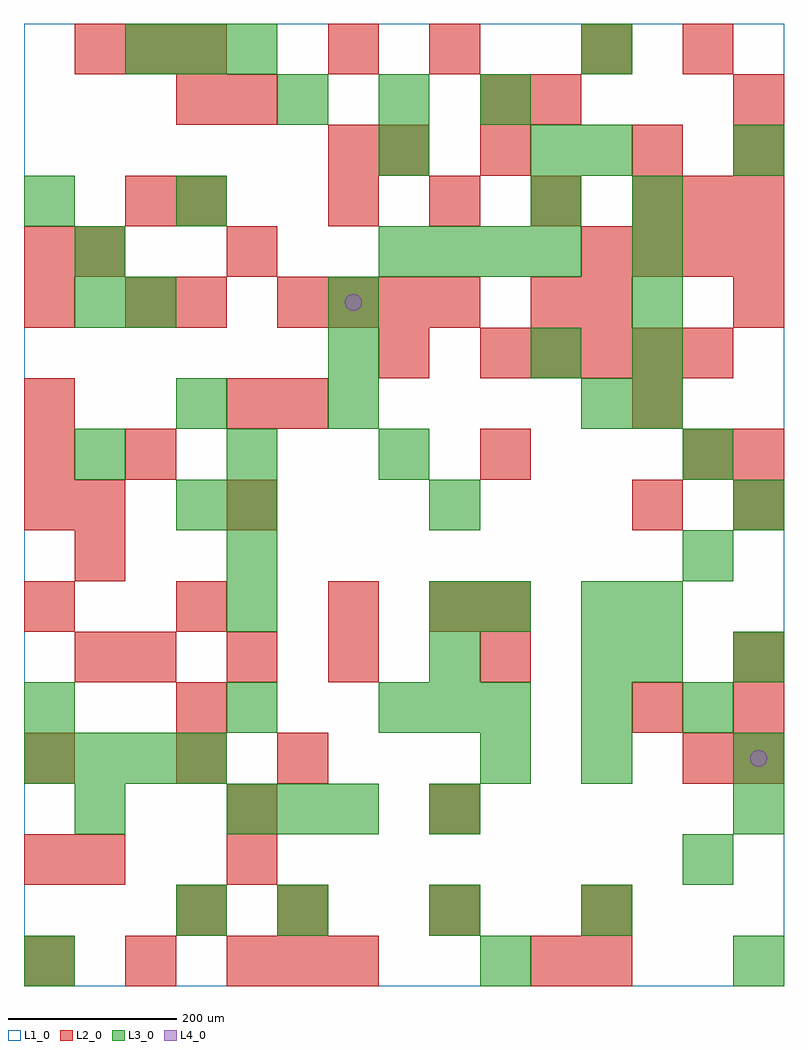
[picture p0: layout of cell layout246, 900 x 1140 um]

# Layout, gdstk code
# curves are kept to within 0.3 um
import gdstk
lib = gdstk.Library(unit=1e-6, precision=1e-09)
def R(c, l, rs):  # rectangles x0, y0, x1, y1
    for r in rs: c.add(gdstk.rectangle(r[:2], r[2:], *l))
def A(c, l, x, y, w, h, nx, ny, dx, dy):  # array of equal rectangles
    R(c, l, [(x+i*dx, y+j*dy, x+i*dx+w, y+j*dy+h) for i in range(nx) for j in range(ny)])
def P(c, l, *ps):  # polygons
    for p in ps: c.add(gdstk.Polygon(p, *l))
L1_0 = (1, 0)
L2_0 = (2, 0)
L3_0 = (3, 0)
L4_0 = (4, 0)

layout246 = lib.new_cell('layout246')
R(layout246, L1_0, [(0,0,900,1140)])
A(layout246, L2_0, 0, 0, 60, 60, 3, 1, 120, 0)
A(layout246, L2_0, 300, 60, 60, 60, 3, 1, 180, 0)
A(layout246, L2_0, 840, 240, 60, 60, 1, 3, 0, 60)
A(layout246, L2_0, 120, 360, 60, 60, 3, 1, 120, 0)
A(layout246, L2_0, 0, 420, 60, 60, 3, 1, 180, 0)
A(layout246, L2_0, 0, 540, 60, 60, 1, 3, 0, 60)
A(layout246, L2_0, 240, 660, 60, 60, 1, 3, 0, 180)
A(layout246, L2_0, 540, 720, 60, 60, 5, 1, 60, 0)
A(layout246, L2_0, 180, 780, 60, 60, 1, 3, 0, 120)
A(layout246, L2_0, 300, 780, 60, 60, 4, 1, 60, 0)
A(layout246, L2_0, 660, 840, 60, 60, 4, 1, 60, 0)
A(layout246, L2_0, 360, 900, 60, 60, 4, 1, 120, 0)
A(layout246, L2_0, 840, 900, 60, 60, 1, 3, 0, 60)
A(layout246, L2_0, 60, 1080, 60, 60, 3, 1, 60, 0)
R(layout246, L2_0, [(300,0,360,60), (360,0,420,60), (600,0,660,60), (660,0,720,60), (180,60,240,120), (0,120,60,180), (60,120,120,180), (240,120,300,180), (240,180,300,240), (480,180,540,240), (0,240,60,300), (180,240,240,300), (300,240,360,300), (780,240,840,300), (180,300,240,360), (720,300,780,360), (60,360,120,420), (540,360,600,420), (480,420,540,480), (540,420,600,480), (60,480,120,540), (60,540,120,600), (240,540,300,600), (720,540,780,600), (840,540,900,600), (120,600,180,660), (540,600,600,660), (780,600,840,660), (840,600,900,660), (300,660,360,720), (720,660,780,720), (420,720,480,780), (0,780,60,840), (120,780,180,840), (600,780,660,840), (660,780,720,840), (840,780,900,840), (0,840,60,900), (60,840,120,900), (120,900,180,960), (780,900,840,960), (360,960,420,1020), (420,960,480,1020), (540,960,600,1020), (720,960,780,1020), (540,1020,600,1080), (600,1020,660,1080), (360,1080,420,1140), (480,1080,540,1140), (660,1080,720,1140), (780,1080,840,1140)])
A(layout246, L3_0, 300, 60, 60, 60, 3, 1, 180, 0)
A(layout246, L3_0, 780, 120, 60, 60, 1, 3, 0, 180)
A(layout246, L3_0, 240, 180, 60, 60, 3, 1, 60, 0)
A(layout246, L3_0, 0, 240, 60, 60, 4, 1, 60, 0)
A(layout246, L3_0, 660, 240, 60, 60, 1, 4, 0, 60)
A(layout246, L3_0, 420, 300, 60, 60, 3, 1, 60, 0)
A(layout246, L3_0, 240, 420, 60, 60, 1, 3, 0, 60)
A(layout246, L3_0, 60, 600, 60, 60, 3, 1, 180, 0)
A(layout246, L3_0, 360, 660, 60, 60, 1, 3, 0, 60)
A(layout246, L3_0, 720, 660, 60, 60, 1, 5, 0, 60)
A(layout246, L3_0, 420, 840, 60, 60, 4, 1, 60, 0)
A(layout246, L3_0, 300, 1020, 60, 60, 3, 1, 120, 0)
A(layout246, L3_0, 120, 1080, 60, 60, 3, 1, 60, 0)
R(layout246, L3_0, [(0,0,60,60), (540,0,600,60), (840,0,900,60), (180,60,240,120), (60,180,120,240), (480,180,540,240), (840,180,900,240), (540,240,600,300), (840,240,900,300), (0,300,60,360), (240,300,300,360), (480,360,540,420), (720,360,780,420), (840,360,900,420), (480,420,540,480), (540,420,600,480), (720,420,780,480), (180,540,240,600), (480,540,540,600), (840,540,900,600), (780,600,840,660), (180,660,240,720), (660,660,720,720), (600,720,660,780), (60,780,120,840), (120,780,180,840), (60,840,120,900), (0,900,60,960), (180,900,240,960), (600,900,660,960), (420,960,480,1020), (600,960,660,1020), (660,960,720,1020), (840,960,900,1020), (660,1080,720,1140)])
P(layout246, L4_0, [(400,810),(399.239,813.827),(397.071,817.071),(393.827,819.239),(390,820),(386.173,819.239),(382.929,817.071),(380.761,813.827),(380,810),(380.761,806.173),(382.929,802.929),(386.173,800.761),(390,800),(393.827,800.761),(397.071,802.929),(399.239,806.173)],
  [(880,270),(879.239,273.827),(877.071,277.071),(873.827,279.239),(870,280),(866.173,279.239),(862.929,277.071),(860.761,273.827),(860,270),(860.761,266.173),(862.929,262.929),(866.173,260.761),(870,260),(873.827,260.761),(877.071,262.929),(879.239,266.173)])

lib.write_gds('layout246.gds')
